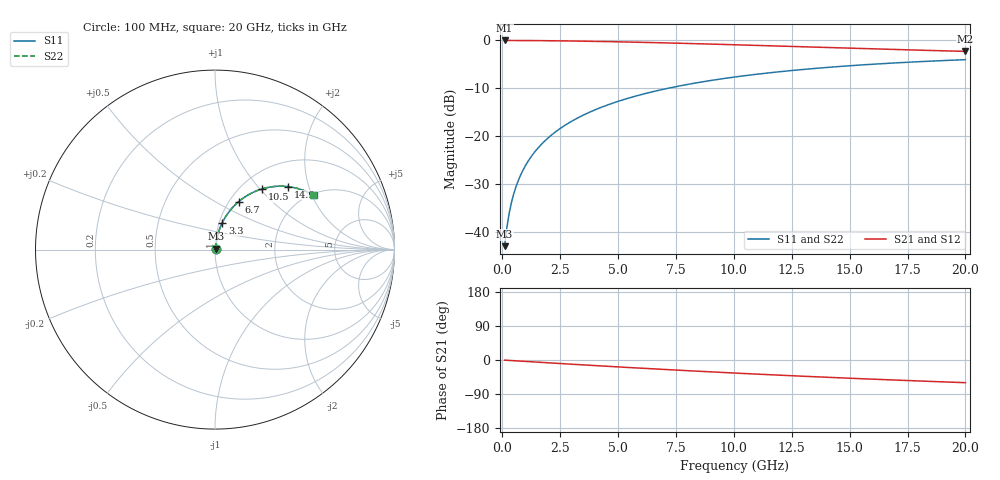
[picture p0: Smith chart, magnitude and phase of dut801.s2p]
! Touchstone file exported from HFSS 2026.1.0
!  File:  C:/ffzhzh/LocalFiles/Ansys_Project_Files/temp_train_TMRDL_801_1783156111_18472.aedt
!  Generated:  05:10:02 PM Jul  4, 2026
!  Design:  TMRDL
!  Project:  temp_train_TMRDL_801_1783156111_18472
! Variables:
!  h_bsmrdl = 2um
!  h_ox = 20um
!  h_rdl = 5um
!  h_sub = 80um
!  h_tmrdl = 5.58um
!  h_tsv = 80um
!  h_via = 3um
!  l_bsmrdl = 300um
!  l_sub = 1269.62um
!  l_tmrdl = 869.62um
!  m_sub = 200um
!  pitch = 54.65um
!  r_tsv = 6um
!  s_tmrdl = 10um
!  w_bsmrdl = 18um
!  w_sub = 500um
!  w_tmrdl = 11.06um
!  x_tsv_center1 = 875.15um
!  x_tsv_center2 = 1193.15um
!  x_tsv_center3 = 2073.83um
!  x_tsv_center4 = 2391.83um
!  x_tsv_center5 = 3272.51um
!  x_tsv_center6 = 3590.51um
# GHz S MA R 50.000000
! Terminal data exported
! Port[1] = TM_RDL1_1_T1
! Port[2] = TM_RDL1_1_T2
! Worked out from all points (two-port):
!   200 points, 100 MHz to 20 GHz, reference 50 ohm
!   highest |S21| = -0.04 dB at 100 MHz (marker M1); lowest = -2.3 dB at 20 GHz (marker M2)
!   |S21| within 3 dB of the highest: start of sweep to end of sweep
!   lowest |S11| = -43.1 dB at 100 MHz (marker M3), VSWR 1.01, Z = 50.5 + j0.498 ohm
!   |S11| at or under -10 dB: start of sweep to 7.2 GHz
!   |S22| runs from -43.1 to -4.1 dB; largest |S21 - S12| = 1.5e-14
!   S11 on the Smith chart (normalised r, x): 100 MHz: 1.01, +0.01; 3.3 GHz: 1.04, +0.32; 6.7 GHz: 1.10, +0.65; 10.5 GHz: 1.24, +1.02; 14.9 GHz: 1.50, +1.49; 20 GHz: 2.06, +2.05
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0.1  0.007025 44.6  0.995 -0.4  0.995 -0.4  0.007025 44.6
! Gamma 0 0 0 0
! Port Impedance 50 0 50 0
0.2  0.01111 62.2  0.9949 -0.8  0.9949 -0.8  0.01111 62.2
0.3  0.01567 69.7  0.9948 -1.1  0.9948 -1.1  0.01567 69.7
0.4  0.02034 73.6  0.9946 -1.5  0.9946 -1.5  0.02034 73.6
0.5  0.02507 75.8  0.9944 -1.9  0.9944 -1.9  0.02507 75.8
0.7  0.03456 78.2  0.9939 -2.7  0.9939 -2.7  0.03456 78.2
1  0.04886 79.5  0.9931 -3.8  0.9931 -3.8  0.04886 79.5
1.4  0.06789 79.7  0.9917 -5.3  0.9917 -5.3  0.06789 79.7
1.9  0.09152 78.8  0.9894 -7.1  0.9894 -7.1  0.09152 78.8
2.5  0.1195 77.3  0.9858 -9.3  0.9858 -9.3  0.1195 77.3
3.3  0.156 74.8  0.9798 -12.2  0.9798 -12.2  0.156 74.8
3.5  0.1649 74.2  0.9781 -13.0  0.9781 -13.0  0.1649 74.2
4.9  0.2254 69.6  0.9644 -17.9  0.9644 -17.9  0.2254 69.6
6.7  0.2974 63.8  0.9431 -24.0  0.9431 -24.0  0.2974 63.8
6.8  0.3012 63.5  0.9419 -24.3  0.9419 -24.3  0.3012 63.5
8.3  0.3557 58.8  0.9219 -29.1  0.9219 -29.1  0.3557 58.8
10.1  0.4146 53.5  0.8964 -34.7  0.8964 -34.7  0.4146 53.5
10.5  0.4268 52.3  0.8906 -35.8  0.8906 -35.8  0.4268 52.3
13.4  0.505 44.4  0.8487 -44.0  0.8487 -44.0  0.505 44.4
14.9  0.539 40.6  0.8277 -47.9  0.8277 -47.9  0.539 40.6
16.7  0.5746 36.2  0.8039 -52.3  0.8039 -52.3  0.5746 36.3
20  0.6267 28.9  0.7649 -59.9  0.7649 -59.9  0.6267 28.9
